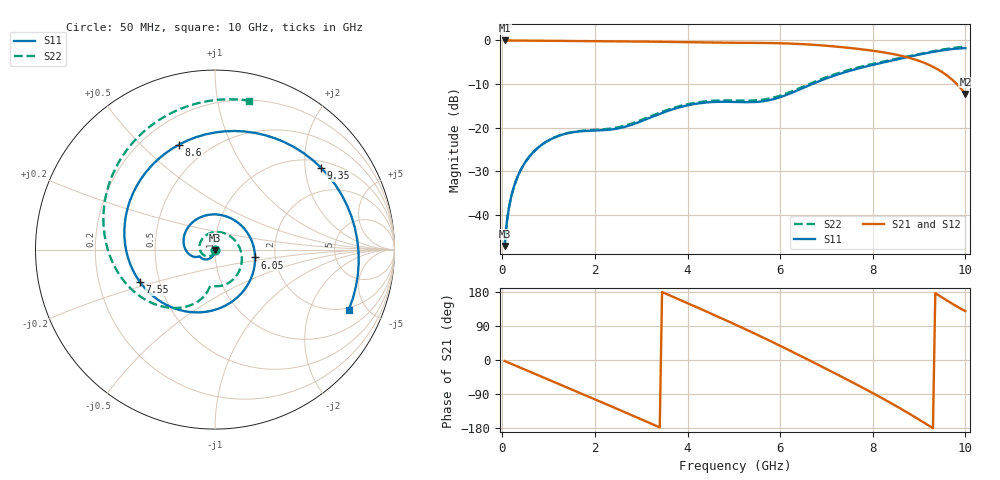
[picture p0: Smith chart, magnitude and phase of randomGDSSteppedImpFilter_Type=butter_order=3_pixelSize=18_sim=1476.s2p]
! freq	dB(S11)	phase(S11)	dB(S12)	phase(S12)
!  dB(S21)	phase(S21)	dB(S22)	phase(S22)
!S-par simulation data
#  GHz  S  DB  R 50
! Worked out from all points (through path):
!   200 points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, 50 MHz to 10 GHz, reference 50 ohm
!   highest |S21| = -0.01 dB at 50 MHz (marker M1); lowest = -12.3 dB at 10 GHz (marker M2)
!   group delay of S21, straight-line fit = 161 ps
!   lowest |S11| = -47.2 dB at 50 MHz (marker M3), VSWR 1.01, Z = 50 - j0.436 ohm
!   |S11| at or under -10 dB: start of sweep to 6.696 GHz
!   |S22| runs from -47.3 to -1.4 dB; largest |S21 - S12| = 0
!   S11 on the Smith chart (normalised r, x): 50 MHz: 1.00, -0.01; 6.05 GHz: 1.57, -0.14; 7.55 GHz: 0.39, -0.18; 8.6 GHz: 0.35, +0.66; 9.35 GHz: 1.18, +2.43; 10 GHz: 1.86, -3.78
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0.05  -47.22 -88.6  -0.01 -2.6  -0.01 -2.6  -47.25 -89.4
0.1  -41.43 -91.9  -0.01 -5.3  -0.01 -5.3  -41.46 -94.1
0.2  -35.54 -97.3  -0.02 -10.5  -0.02 -10.5  -35.56 -101.9
0.5  -27.90 -110.5  -0.04 -26.0  -0.04 -26.0  -27.93 -122.3
1.15  -22.20 -134.8  -0.10 -59.7  -0.10 -59.7  -22.16 -166.5
1.75  -20.82 -151.2  -0.14 -90.8  -0.14 -90.8  -20.71 147.0
2.5  -20.20 -157.0  -0.19 -130.0  -0.19 -130.0  -19.95 74.7
3.4  -16.86 -168.4  -0.32 -177.9  -0.32 -177.9  -16.59 -8.1
4.15  -14.60 158.9  -0.44 141.9  -0.44 141.9  -14.33 -55.2
5.05  -14.13 95.1  -0.53 92.5  -0.53 92.5  -13.80 -89.7
5.55  -14.07 45.3  -0.56 64.0  -0.56 64.0  -13.70 -97.1
6.05  -12.86 -11.1  -0.66 34.5  -0.66 34.5  -12.51 -100.2
6.7  -9.98 -79.1  -0.99 -5.1  -0.99 -5.1  -9.69 -111.9
7.15  -8.15 -121.0  -1.36 -33.0  -1.36 -33.0  -7.87 -126.5
7.55  -6.83 -156.6  -1.78 -58.2  -1.78 -58.2  -6.57 -142.0
7.95  -5.74 168.0  -2.29 -84.0  -2.29 -84.0  -5.51 -159.2
8.35  -4.76 131.9  -2.95 -110.8  -2.95 -110.8  -4.57 -177.8
8.6  -4.17 108.8  -3.49 -128.2  -3.49 -128.2  -4.02 169.5
9  -3.26 71.1  -4.69 -157.3  -4.69 -157.3  -3.13 147.1
9.35  -2.54 37.6  -6.33 176.2  -6.33 176.2  -2.40 124.8
9.7  -2.00 4.1  -8.88 149.7  -8.88 149.7  -1.78 100.1
10  -1.75 -24.3  -12.31 129.1  -12.31 129.1  -1.39 77.2
